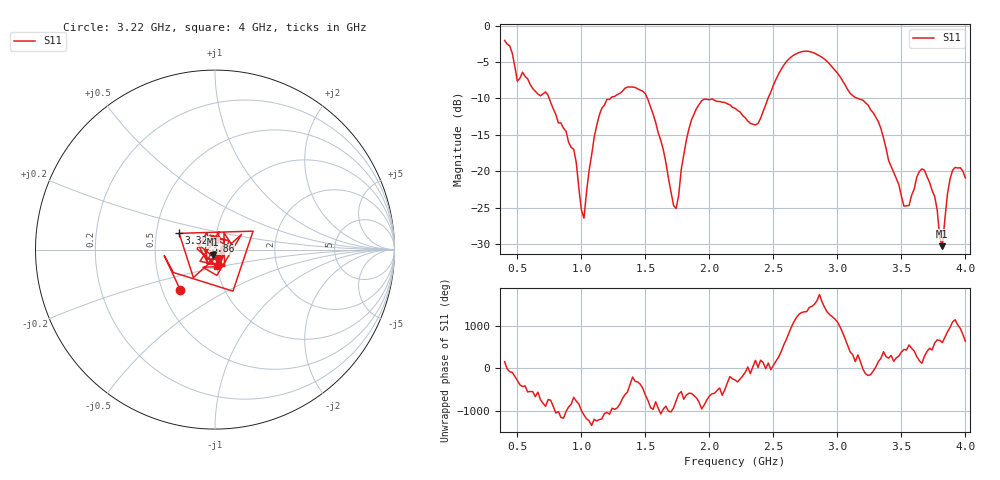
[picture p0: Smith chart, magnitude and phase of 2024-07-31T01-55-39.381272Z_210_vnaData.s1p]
!Created with skrf (http://scikit-rf.org).
# Hz S RI R 50.0
!freq ReS11 ImS11
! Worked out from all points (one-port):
!   181 points, 400 MHz to 4 GHz, reference 50 ohm
!   lowest |S11| = -30.3 dB at 3.82 GHz (marker M1), VSWR 1.06, Z = 48.6 - j2.68 ohm
!   |S11| at or under -10 dB: 748.6 MHz to 1.227 GHz (478.1 MHz wide, 48.4 % of centre); 1.516 GHz to 2.458 GHz (941.5 MHz wide, 47.4 % of centre); 3.162 GHz to end of sweep
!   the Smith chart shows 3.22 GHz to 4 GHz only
!   S11 on the Smith chart (normalised r, x): 3.22 GHz: 0.62, -0.30; 3.32 GHz: 0.66, +0.13; 3.86 GHz: 0.90, +0.09; 4 GHz: 1.00, -0.18
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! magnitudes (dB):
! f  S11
! 400 MHz  -2.0
! 500 MHz  -7.6
! 720 MHz  -9.1
! 860 MHz  -14.1
! 940 MHz  -17.0
! 1.02 GHz  -26.4
! 1.14 GHz  -12.3
! 1.3 GHz  -9.3
! 1.5 GHz  -9.4
! 1.64 GHz  -17.1
! 1.72 GHz  -24.7
! 1.76 GHz  -23.3
! 1.84 GHz  -14.2
! 1.92 GHz  -10.8
! 2.2 GHz  -11.3
! 2.38 GHz  -13.4
! 2.66 GHz  -4.0
! 2.88 GHz  -4.4
! 3.1 GHz  -9.3
! 3.22 GHz  -10.6
! 3.32 GHz  -13.2
! 3.56 GHz  -24.7
! 3.68 GHz  -19.8
! 3.76 GHz  -23.4
! 3.82 GHz  -30.3
! 3.86 GHz  -23.1
! 3.92 GHz  -19.5
! 4 GHz  -20.9
